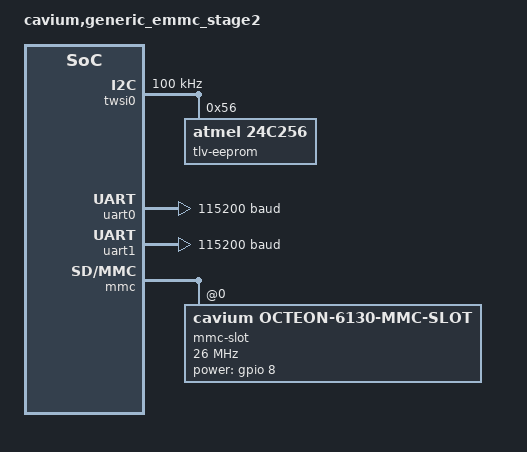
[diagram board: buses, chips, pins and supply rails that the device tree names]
/dts-v1/;
/*
 * Cavium Inc. Generic EMMC board
 */
/ {
	model = "cavium,generic_emmc_stage2";
	compatible = "cavium,generic_emmc_stage2";
	#address-cells = <2>;
	#size-cells = <2>;
	interrupt-parent = <&ciu>;

	soc@0 {
		compatible = "simple-bus";
		#address-cells = <2>;
		#size-cells = <2>;
		ranges; /* Direct mapping */

		ciu: interrupt-controller@1070000000000 {
			compatible = "cavium,octeon-3860-ciu";
			interrupt-controller;
			/* Interrupts are specified by two parts:
			 * 1) Controller register (0 or 1)
			 * 2) Bit within the register (0..63)
			 */
			#interrupt-cells = <2>;
			reg = <0x10700 0x00000000 0x0 0x7000>;
		};

		gpio: gpio-controller@1070000000800 {
			#gpio-cells = <2>;
			compatible = "cavium,octeon-3860-gpio";
			reg = <0x10700 0x00000800 0x0 0x100>;
			gpio-controller;
			/* Interrupts are specified by two parts:
			 * 1) GPIO pin number (0..15)
			 * 2) Triggering (1 - edge rising
			 *		  2 - edge falling
			 *		  4 - level active high
			 *		  8 - level active low)
			 */
			interrupt-controller;
			#interrupt-cells = <2>;
			/* The GPIO pins connect to 16 consecutive CUI bits */
			interrupts = <0 16>; /* <0 17> <0 18> <0 19>
				     <0 20> <0 21> <0 22> <0 23>
				     <0 24> <0 25> <0 26> <0 27>
				     <0 28> <0 29> <0 30> <0 31>; */
		};

		twsi0: i2c@1180000001000 {
			#address-cells = <1>;
			#size-cells = <0>;
			compatible = "cavium,octeon-3860-twsi";
			reg = <0x11800 0x00001000 0x0 0x200>;
			interrupts = <0 45>;
			clock-frequency = <100000>;

			tlv-eeprom@56 {
				compatible = "atmel,24c256";
				reg = <0x56>;
				pagesize = <64>;
			};
		};

		uart0: serial@1180000000800 {
			compatible = "cavium,octeon-3860-uart","ns16550";
			reg = <0x11800 0x00000800 0x0 0x400>;
			clock-frequency = <0>;
			current-speed = <115200>;
			reg-shift = <3>;
			interrupts = <0 34>;
		};

		uart1: serial@1180000000c00 {
			compatible = "cavium,octeon-3860-uart","ns16550";
			reg = <0x11800 0x00000c00 0x0 0x400>;
			clock-frequency = <0>;
			current-speed = <115200>;
			reg-shift = <3>;
			interrupts = <0 35>;
		};

		mmc: mmc@1180000002000 {
			compatible = "cavium,octeon-6130-mmc";
			reg = <0x11800 0x00002000 0x0 0x100>,
			      <0x11800 0x00000168 0x0 0x20>;
			#address-cells = <1>;
			#size-cells = <0>;
			/* EMM irq, DMA irq */
			interrupts = <1 19>, <0 63>;

			/* The board only has a single MMC slot */
			mmc-slot@0 {
				compatible = "cavium,octeon-6130-mmc-slot",
					     "mmc-spi-slot";
				reg = <0>;
				voltage-ranges = <3300 3300>;
				spi-max-frequency = <26000000>;
				/* Power on GPIO 8, active high */
				power-gpios = <&gpio 8 0>;
				bus-width = <8>;
				/* bus width can be 1, 4 or 8 */
				cavium,bus-max-width = <8>;
			};
		};

		bootbus: bootbus@1180000000000 {
			compatible = "cavium,octeon-3860-bootbus";
			reg = <0x11800 0x00000000 0x0 0x200>;
			/* The chip select number and offset */
			#address-cells = <2>;
			/* The size of the chip select region */
			#size-cells = <1>;
			ranges = <0 0  0x10000 0x10000000  0>,
				 <1 0  0x10000 0x20000000  0>,
				 <2 0  0x10000 0x30000000  0>,
				 <3 0  0x10000 0x40000000  0>,
				 <4 0  0x10000 0x50000000  0>,
				 <5 0  0x10000 0x60000000  0>,
				 <6 0  0x10000 0x70000000  0>,
				 <7 0  0x10000 0x80000000  0>;
		};

		dma0: dma-engine@1180000000100 {
			compatible = "cavium,octeon-5750-bootbus-dma";
			reg = <0x11800 0x00000100 0x0 0x8>;
			interrupts = <0 63>;
		};
		dma1: dma-engine@1180000000108 {
			compatible = "cavium,octeon-5750-bootbus-dma";
			reg = <0x11800 0x00000108 0x0 0x8>;
			interrupts = <0 63>;
		};
	};

	aliases {
		twsi0 = &twsi0;
		uart0 = &uart0;
		uart1 = &uart1;
	};
 };
